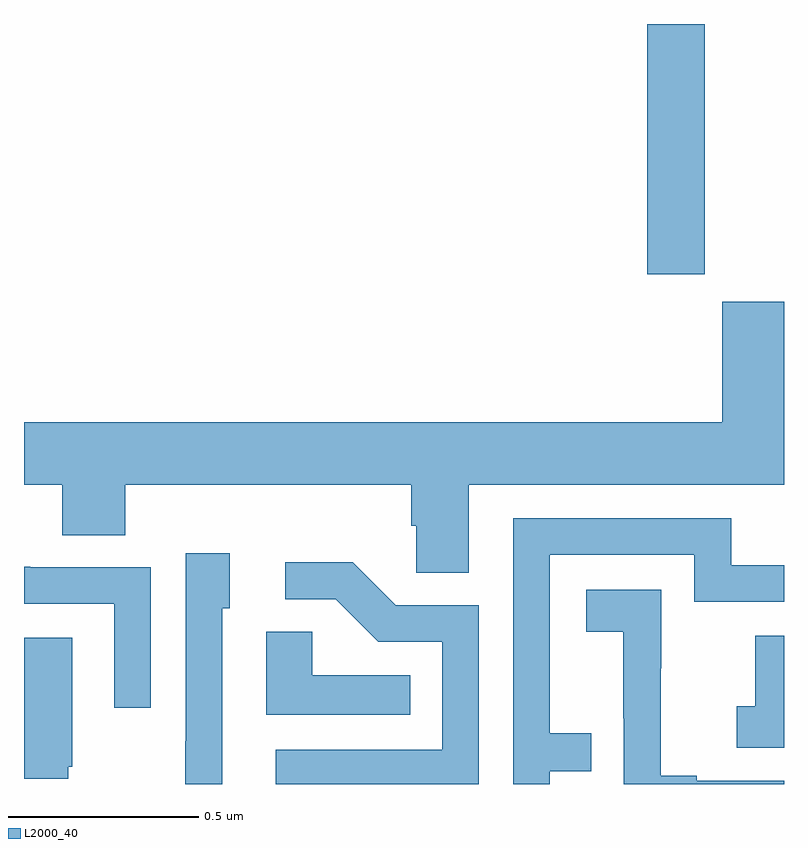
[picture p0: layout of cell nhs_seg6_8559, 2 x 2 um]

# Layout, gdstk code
import gdstk
lib = gdstk.Library(unit=1e-6, precision=1e-09)
def R(c, l, rs):  # rectangles x0, y0, x1, y1
    for r in rs: c.add(gdstk.rectangle(r[:2], r[2:], *l))
def P(c, l, *ps):  # polygons
    for p in ps: c.add(gdstk.Polygon(p, *l))
L2000_40 = (2000, 40)

nhs_seg6_8559 = lib.new_cell('nhs_seg6_8559')
R(nhs_seg6_8559, L2000_40, [(223.64,995.841,223.792,996.5)])
P(nhs_seg6_8559, L2000_40, [(223.171,995.288),(224,995.288),(224,995.769),(223.838,995.769),(223.838,995.452),(222,995.452),(222,995.288),(222.101,995.288),(222.101,995.155),(222.266,995.155),(222.266,995.288),(223.019,995.288),(223.019,995.179),(223.032,995.179),(223.032,995.056),(223.171,995.056)],
  [(223.383,994.533),(223.493,994.533),(223.493,994.634),(223.383,994.634),(223.383,995.103),(223.764,995.103),(223.764,994.98),(224,994.98),(224,995.076),(223.861,995.076),(223.861,995.199),(223.287,995.199),(223.287,994.5),(223.383,994.5)],
  [(222.522,994.962),(222.541,994.962),(222.541,995.107),(222.426,995.107),(222.426,994.613),(222.424,994.613),(222.424,994.5),(222.522,994.5)],
  [(223.197,994.971),(222.978,994.971),(222.865,995.084),(222.687,995.084),(222.687,994.986),(222.821,994.986),(222.932,994.875),(223.101,994.875),(223.101,994.59),(222.663,994.59),(222.663,994.5),(223.197,994.5)],
  [(222.333,995.07),(222.017,995.07),(222.017,995.072),(222,995.072),(222,994.974),(222.237,994.974),(222.237,994.701),(222.333,994.701)],
  [(224,994.509),(223.771,994.509),(223.771,994.522),(223.676,994.522),(223.676,994.805),(223.677,994.805),(223.677,995.011),(223.479,995.011),(223.479,994.901),(223.577,994.901),(223.577,994.673),(223.578,994.673),(223.578,994.5),(224,994.5)],
  [(223.016,994.786),(222.759,994.786),(222.759,994.901),(222.638,994.901),(222.638,994.682),(223.016,994.682)],
  [(224,994.89),(223.924,994.89),(223.924,994.705),(223.875,994.705),(223.875,994.596),(224,994.596)],
  [(222.116,994.545),(222.127,994.545),(222.127,994.885),(222,994.885),(222,994.514),(222.116,994.514)])

lib.write_gds('nhs_seg6_8559.gds')
